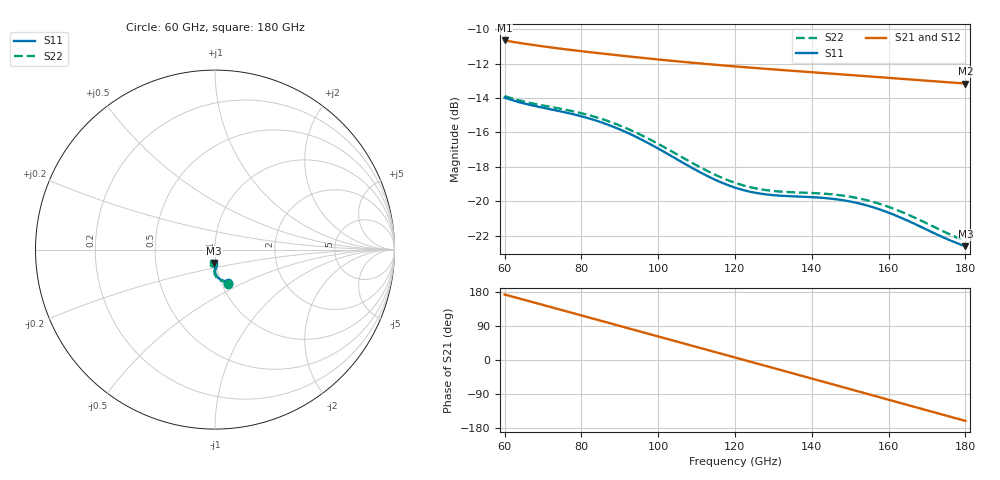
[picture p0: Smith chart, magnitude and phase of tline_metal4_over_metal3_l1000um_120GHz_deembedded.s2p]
! Created with skrf 2.0.1 (http://scikit-rf.org).
# GHz S DB R 50.0
!freq dBS11 angS11 dBS21 angS21 dBS12 angS12 dBS22 angS22
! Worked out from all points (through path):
!   101 points, 60 GHz to 180 GHz, reference 50 ohm
!   highest |S21| = -10.65 dB at 60 GHz (marker M1); lowest = -13.2 dB at 180 GHz (marker M2)
!   group delay of S21, straight-line fit = 7.72 ps
!   lowest |S11| = -22.6 dB at 180 GHz (marker M3), VSWR 1.16, Z = 49 - j7.28 ohm
!   |S11| at or under -10 dB: start of sweep to end of sweep
!   |S22| runs from -22.3 to -13.9 dB; largest |S21 - S12| = 4.1e-14
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60  -13.97 -69.6  -10.65 172.8  -10.65 172.8  -13.89 -69.8
64.8  -14.30 -70.3  -10.83 159.6  -10.83 159.6  -14.19 -70.5
69.6  -14.54 -71.6  -10.98 146.4  -10.98 146.4  -14.42 -71.9
75.6  -14.83 -74.1  -11.16 129.8  -11.16 129.8  -14.67 -74.5
80.4  -15.09 -76.6  -11.28 116.5  -11.28 116.5  -14.90 -77.2
85.2  -15.41 -79.5  -11.41 103.2  -11.41 103.2  -15.21 -80.2
90  -15.82 -82.4  -11.52 89.9  -11.52 89.9  -15.60 -83.3
94.8  -16.32 -85.1  -11.64 76.6  -11.64 76.6  -16.07 -86.2
100.8  -17.04 -87.8  -11.77 59.9  -11.77 59.9  -16.76 -89.1
110.4  -18.26 -89.6  -11.98 33.3  -11.98 33.3  -17.96 -91.5
115.2  -18.79 -89.3  -12.07 20.0  -12.07 20.0  -18.50 -91.5
120  -19.21 -88.4  -12.16 6.6  -12.16 6.6  -18.93 -90.9
124.8  -19.49 -87.4  -12.25 -6.7  -12.25 -6.7  -19.23 -90.1
129.6  -19.64 -86.7  -12.33 -20.0  -12.33 -20.0  -19.39 -89.5
134.4  -19.71 -86.6  -12.41 -33.4  -12.41 -33.4  -19.47 -89.4
140.4  -19.77 -87.5  -12.50 -50.1  -12.50 -50.1  -19.53 -90.3
146.4  -19.89 -89.3  -12.60 -66.9  -12.60 -66.9  -19.63 -92.2
151.2  -20.07 -91.1  -12.68 -80.3  -12.68 -80.3  -19.79 -94.2
156  -20.36 -93.0  -12.76 -93.7  -12.76 -93.7  -20.04 -96.2
160.8  -20.74 -94.6  -12.84 -107.1  -12.84 -107.1  -20.40 -98.1
171.6  -21.83 -95.8  -13.02 -137.2  -13.02 -137.2  -21.47 -100.3
180  -22.61 -93.4  -13.16 -160.7  -13.16 -160.7  -22.32 -98.9
